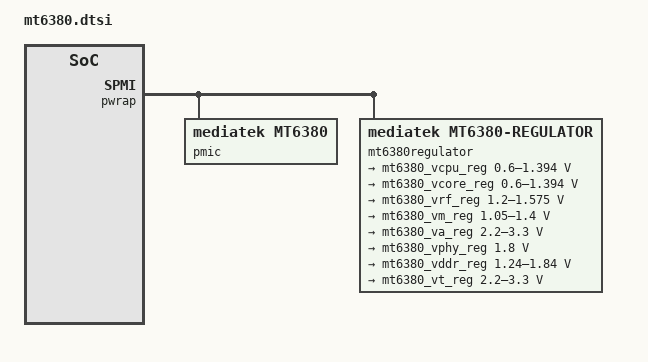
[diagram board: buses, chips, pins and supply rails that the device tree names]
/*
 * Mediatek's PMIC mt6380 device tree source
 * Copyright (c) 2016 MediaTek Inc.
 *
 * This program is free software; you can redistribute it and/or modify
 * it under the terms of the GNU General Public License version 2 as
 * published by the Free Software Foundation.
 *
 * This program is distributed in the hope that it will be useful,
 * MERCHANTABILITY or FITNESS FOR A PARTICULAR PURPOSE.  See the
 * GNU General Public License for more details.
 */

&pwrap {
	status = "okay";

	pmic: mt6380 {
		compatible = "mediatek,mt6380";
	};

	mt6380regulator: mt6380regulator {
		compatible = "mediatek,mt6380-regulator";

		mt6380_vcpu_reg: buck_vcore1 {
			regulator-name = "vcpu";
			regulator-min-microvolt = < 600000>;
			regulator-max-microvolt = <1393750>;
			regulator-ramp-delay = <6250>;
			regulator-always-on;
			regulator-boot-on;
		};

		mt6380_vcore_reg: buck_vcore {
			regulator-name = "vcore";
			regulator-min-microvolt = <600000>;
			regulator-max-microvolt = <1393750>;
			regulator-ramp-delay = <6250>;
			regulator-always-on;
			regulator-boot-on;
		};

		mt6380_vrf_reg: buck_vrf {
			regulator-name = "vrf";
			regulator-min-microvolt = <1200000>;
			regulator-max-microvolt = <1575000>;
			regulator-ramp-delay = <0>;
			regulator-always-on;
			regulator-boot-on;
		};

		mt6380_vm_reg: ldo_vmldo {
			regulator-name = "vmldo";
			regulator-min-microvolt = <1050000>;
			regulator-max-microvolt = <1400000>;
			regulator-ramp-delay = <0>;
			regulator-always-on;
			regulator-boot-on;
		};

		mt6380_va_reg: ldo_valdo {
			regulator-name = "valdo";
			regulator-min-microvolt = <2200000>;
			regulator-max-microvolt = <3300000>;
			regulator-ramp-delay = <0>;
			regulator-always-on;
			regulator-boot-on;
		};

		mt6380_vphy_reg: ldo_vphyldo {
			regulator-name = "vphyldo";
			regulator-min-microvolt = <1800000>;
			regulator-max-microvolt = <1800000>;
			regulator-ramp-delay = <0>;
			regulator-always-on;
			regulator-boot-on;
		};

		mt6380_vddr_reg: ldo_vddrldo {
			regulator-name = "vddr";
			regulator-min-microvolt = <1240000>;
			regulator-max-microvolt = <1840000>;
			regulator-ramp-delay = <0>;
			regulator-always-on;
			regulator-boot-on;
		};

		mt6380_vt_reg: ldo_vtldo {
			regulator-name = "vadc18";
			regulator-min-microvolt = <2200000>;
			regulator-max-microvolt = <3300000>;
			regulator-ramp-delay = <0>;
			regulator-always-on;
			regulator-boot-on;
		};
	};
};
